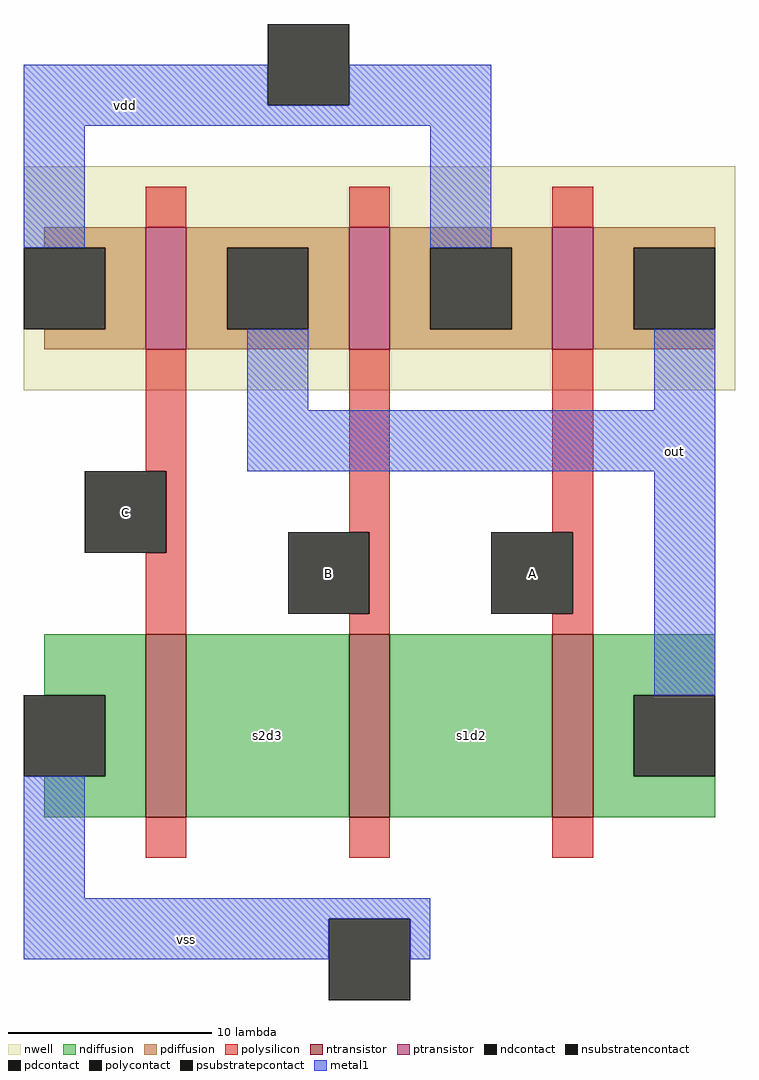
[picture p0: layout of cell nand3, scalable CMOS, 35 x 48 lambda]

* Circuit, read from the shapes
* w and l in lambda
.subckt nand3 A B C out s1d2 s2d3 vdd vss
M1 s2d3 C vss vss nfet w=9 l=2
M2 s1d2 B s2d3 vss nfet w=9 l=2
M3 out A s1d2 vss nfet w=9 l=2
M4 out C vdd n1 pfet w=6 l=2
M5 vdd B out n1 pfet w=6 l=2
M6 out A vdd n1 pfet w=6 l=2
.ends

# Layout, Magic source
magic
tech scmos
<< nwell >>
rect -11 2 24 13
<< polysilicon >>
rect -5 10 -3 12
rect 5 10 7 12
rect 15 10 17 12
rect -5 -2 -3 4
rect -4 -6 -3 -2
rect 5 -5 7 4
rect 15 -5 17 4
rect -5 -10 -3 -6
rect 6 -9 7 -5
rect 16 -9 17 -5
rect 5 -10 7 -9
rect 15 -10 17 -9
rect -5 -21 -3 -19
rect 5 -21 7 -19
rect 15 -21 17 -19
<< ndiffusion >>
rect -10 -13 -5 -10
rect -7 -17 -5 -13
rect -10 -19 -5 -17
rect -3 -19 5 -10
rect 7 -19 15 -10
rect 17 -13 23 -10
rect 17 -17 19 -13
rect 17 -19 23 -17
<< pdiffusion >>
rect -10 9 -5 10
rect -7 5 -5 9
rect -10 4 -5 5
rect -3 9 5 10
rect -3 5 -1 9
rect 3 5 5 9
rect -3 4 5 5
rect 7 9 15 10
rect 7 5 9 9
rect 13 5 15 9
rect 7 4 15 5
rect 17 9 23 10
rect 17 5 19 9
rect 17 4 23 5
<< metal1 >>
rect -11 16 1 18
rect 5 16 12 18
rect -11 15 12 16
rect -11 9 -8 15
rect 9 9 12 15
rect 0 1 3 5
rect 20 1 23 5
rect 0 -2 23 1
rect 20 -13 23 -2
rect -11 -23 -8 -17
rect -11 -24 9 -23
rect -11 -26 4 -24
rect 8 -26 9 -24
<< ntransistor >>
rect -5 -19 -3 -10
rect 5 -19 7 -10
rect 15 -19 17 -10
<< ptransistor >>
rect -5 4 -3 10
rect 5 4 7 10
rect 15 4 17 10
<< polycontact >>
rect -8 -6 -4 -2
rect 2 -9 6 -5
rect 12 -9 16 -5
<< ndcontact >>
rect -11 -17 -7 -13
rect 19 -17 23 -13
<< pdcontact >>
rect -11 5 -7 9
rect -1 5 3 9
rect 9 5 13 9
rect 19 5 23 9
<< psubstratepcontact >>
rect 4 -28 8 -24
<< nsubstratencontact >>
rect 1 16 5 20
<< labels >>
rlabel metal1 -3 -25 -3 -25 1 vss
rlabel metal1 -6 16 -6 16 1 vdd
rlabel metal1 21 -1 21 -1 1 out
rlabel polycontact -6 -4 -6 -4 1 C
rlabel polycontact 4 -7 4 -7 1 B
rlabel polycontact 14 -7 14 -7 1 A
rlabel ndiffusion 1 -15 1 -15 1 s2d3
rlabel ndiffusion 11 -15 11 -15 1 s1d2
<< end >>
